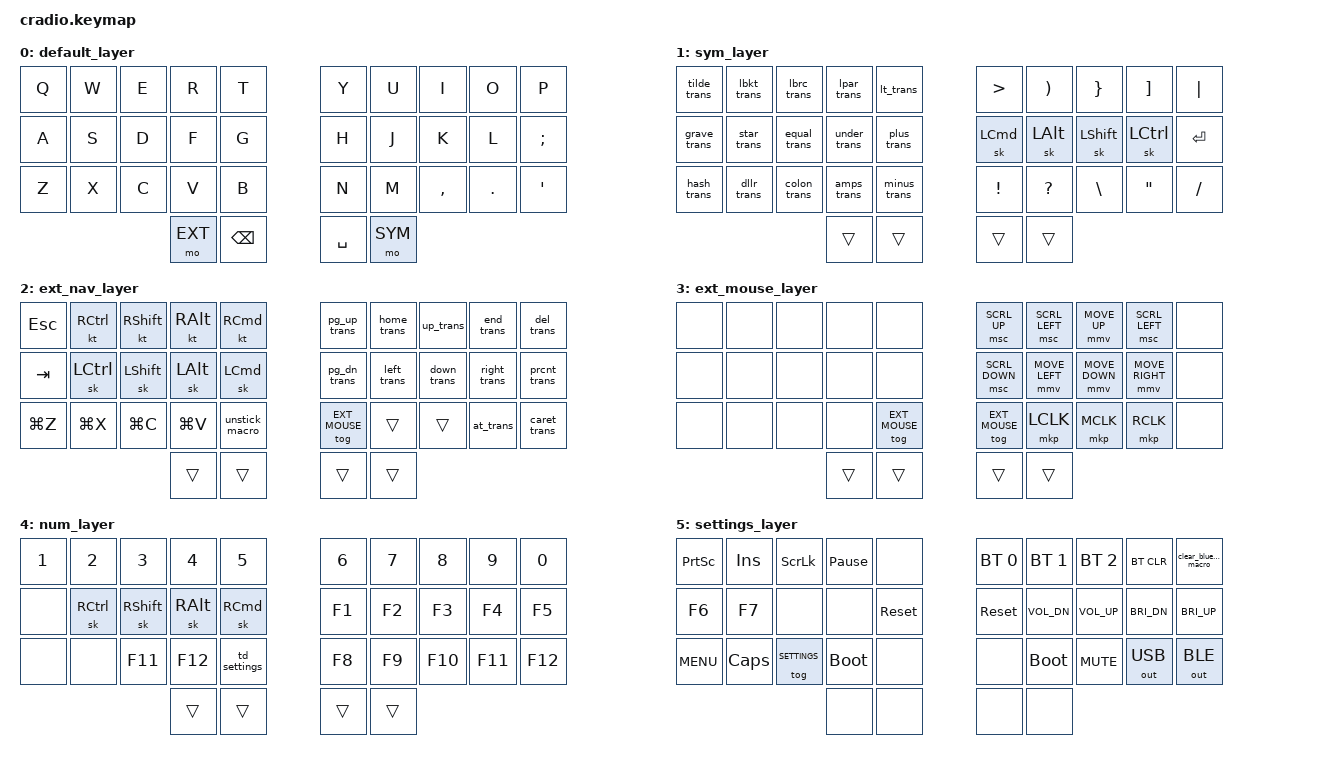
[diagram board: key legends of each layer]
/*
 * Copyright (c) 2020 The ZMK Contributors
 *
 * SPDX-License-Identifier: MIT
 */

#include <behaviors.dtsi>
#include <dt-bindings/zmk/keys.h>
#include <dt-bindings/zmk/bt.h>
#include <dt-bindings/zmk/outputs.h>
#include <dt-bindings/zmk/pointing.h>

// Layer definitions
#define DEFAULT 0
#define SYM 1
#define EXT 2
#define EXT_MOUSE 3
#define NUM 4
#define SETTINGS 5
// -----------------

// left-mods: treat as transaprent. right-mods: treat KEYCODE
#define TRANS_MOD(KEYCODE_BINDING, LABEL) \
    LABEL: LABEL { \
        compatible = "zmk,behavior-mod-morph"; \
        label = #LABEL ; \
        #binding-cells = <0>; \
        bindings = <KEYCODE_BINDING>, <&trans>; \
        mods = <(MOD_LSFT|MOD_LCTL|MOD_LALT|MOD_LGUI)>; \
        keep-mods = <(MOD_LSFT|MOD_LCTL|MOD_LALT|MOD_LGUI)>; \
    }

&sk {
    quick-release; // Release sticky keys on next key-press
    ignore-modifiers; // sticky keys combine, instead of releasing previously pressed sticky keys
};

// For clone nrf chip
&kscan0 {
    input-gpios
    = <&pro_micro 10 (GPIO_ACTIVE_LOW | GPIO_PULL_UP)>
    , <&pro_micro 16 (GPIO_ACTIVE_LOW | GPIO_PULL_UP)>
    , <&pro_micro 14 (GPIO_ACTIVE_LOW | GPIO_PULL_UP)>
    , <&pro_micro 15 (GPIO_ACTIVE_LOW | GPIO_PULL_UP)>
    , <&pro_micro 18 (GPIO_ACTIVE_LOW | GPIO_PULL_UP)>
    , <&pro_micro 19 (GPIO_ACTIVE_LOW | GPIO_PULL_UP)>
    , <&pro_micro 20 (GPIO_ACTIVE_LOW | GPIO_PULL_UP)>
    , <&pro_micro 21 (GPIO_ACTIVE_LOW | GPIO_PULL_UP)>
    , <&pro_micro  9 (GPIO_ACTIVE_LOW | GPIO_PULL_UP)>
    , <&pro_micro  8 (GPIO_ACTIVE_LOW | GPIO_PULL_UP)>
    , <&pro_micro  7 (GPIO_ACTIVE_LOW | GPIO_PULL_UP)>
    , <&pro_micro  6 (GPIO_ACTIVE_LOW | GPIO_PULL_UP)>
    , <&pro_micro  5 (GPIO_ACTIVE_LOW | GPIO_PULL_UP)>
    , <&pro_micro  4 (GPIO_ACTIVE_LOW | GPIO_PULL_UP)>
    , <&pro_micro  3 (GPIO_ACTIVE_LOW | GPIO_PULL_UP)>
    , <&pro_micro  2 (GPIO_ACTIVE_LOW | GPIO_PULL_UP)>
    , <&pro_micro  1 (GPIO_ACTIVE_LOW | GPIO_PULL_UP)>
    ;
};

/ {

    behaviors {
        td_settings: tap_dance_settings {
            compatible = "zmk,behavior-tap-dance";
            label = "TAP_DANCE_SETTINGS";
            #binding-cells = <0>;
            tapping-term-ms = <500>;
            bindings = <&none>, <&none>, <&tog SETTINGS>;
        };

        TRANS_MOD(&kp TILDE, tilde_trans);
        TRANS_MOD(&kp LBKT, lbkt_trans);
        TRANS_MOD(&kp LBRC, lbrc_trans);
        TRANS_MOD(&kp LPAR, lpar_trans);
        TRANS_MOD(&kp LT, lt_trans);
        TRANS_MOD(&kp GRAVE, grave_trans);
        TRANS_MOD(&kp STAR, star_trans);
        TRANS_MOD(&kp EQUAL, equal_trans);
        TRANS_MOD(&kp UNDER, under_trans);
        TRANS_MOD(&kp PLUS, plus_trans);
        TRANS_MOD(&kp HASH, hash_trans);
        TRANS_MOD(&kp CARET, caret_trans);
        TRANS_MOD(&kp AT, at_trans);
        TRANS_MOD(&kp AMPS, amps_trans);
        TRANS_MOD(&kp MINUS, minus_trans);
        
        TRANS_MOD(&kp PG_UP, pg_up_trans);
        TRANS_MOD(&kp HOME, home_trans);
        TRANS_MOD(&kp UP, up_trans);
        TRANS_MOD(&kp END, end_trans);
        TRANS_MOD(&kp DEL, del_trans);
        TRANS_MOD(&kp PG_DN, pg_dn_trans);
        TRANS_MOD(&kp LEFT, left_trans);
        TRANS_MOD(&kp DOWN, down_trans);
        TRANS_MOD(&kp RIGHT, right_trans);
        TRANS_MOD(&kp PRCNT, prcnt_trans);
        TRANS_MOD(&kp DLLR, dllr_trans);
        TRANS_MOD(&kp COLON, colon_trans);

        TRANS_MOD(&msc SCRL_DOWN, mouse_scrl_down_trans);
        TRANS_MOD(&msc SCRL_UP, mouse_scrl_up_trans);
        TRANS_MOD(&msc SCRL_LEFT, mouse_scrl_left_trans);
        TRANS_MOD(&msc SCRL_RIGHT, mouse_scrl_right_trans);
        TRANS_MOD(&mmv MOVE_UP, mouse_up_trans);
        TRANS_MOD(&mmv MOVE_DOWN, mouse_down_trans);
        TRANS_MOD(&mmv MOVE_LEFT, mouse_left_trans);
        TRANS_MOD(&mmv MOVE_RIGHT, mouse_right_trans);

    };
    macros {
        // reset all sticky modifiers
        ZMK_MACRO(unstick_macro,
            wait-ms = <0>;
            tap-ms = <40>;
            bindings = <&macro_release &kp LSHIFT &kp LCTRL &kp LALT &kp RSHIFT &kp RCTRL &kp RALT &kp LCMD &kp RCMD>;
        )
        ZMK_MACRO(clear_bluetooth_macro,
            wait-ms = <0>;
            tap-ms = <40>;
            bindings = <&macro_release &bt BT_DISC 0 &bt BT_DISC 1 &bt BT_DISC 2 &bt BT_DISC 3>;
        )
    };

    conditional_layers {
        compatible = "zmk,conditional-layers";
        num_cond_layer {
            if-layers = <SYM EXT>;
            then-layer = <NUM>;
        };
    };

    keymap {
        compatible = "zmk,keymap";

        // Base layer
        default_layer {
            bindings = <
                &kp Q &kp W &kp E &kp R   &kp T             &kp Y     &kp U &kp I     &kp O   &kp P 
                &kp A &kp S &kp D &kp F   &kp G             &kp H     &kp J &kp K     &kp L   &kp SEMI
                &kp Z &kp X &kp C &kp V   &kp B             &kp N     &kp M &kp COMMA &kp DOT &kp SQT
                                  &mo EXT &kp BSPC          &kp SPACE &mo SYM
            >;
        };

        // symbols
        sym_layer {
            bindings = <
                &tilde_trans &lbkt_trans &lbrc_trans  &lpar_trans  &lt_trans             &kp GT   &kp RPAR  &kp RBRC  &kp RBKT  &kp PIPE
                &grave_trans &star_trans &equal_trans &under_trans &plus_trans           &sk LCMD &sk LALT  &sk LSHFT &sk LCTRL &kp ENTER
                &hash_trans  &dllr_trans &colon_trans &amps_trans  &minus_trans          &kp EXCL &kp QMARK &kp BSLH  &kp DQT   &kp FSLH
                                                      &trans       &trans                &trans   &trans
            >;
        };

        // Main modifiers and arrow keys
        ext_nav_layer {
            bindings = <
                &kp ESC  &kt RCTRL  &kt RSHFT &kt RALT  &kt RCMD                        &pg_up_trans   &home_trans     &up_trans       &end_trans      &del_trans
                &kp TAB  &sk LCTRL  &sk LSHFT &sk LALT  &sk LCMD                        &pg_dn_trans   &left_trans     &down_trans     &right_trans    &prcnt_trans
                &kp LG(Z) &kp LG(X) &kp LG(C) &kp LG(V) &unstick_macro                  &tog EXT_MOUSE &trans          &trans          &at_trans       &caret_trans
                                              &trans    &trans                          &trans         &trans
            >;
        };

        // Main modifiers and mouse keys
        ext_mouse_layer {
            bindings = <
                &none  &none  &none &none  &none                       &msc SCRL_UP   &msc SCRL_LEFT &mmv MOVE_UP &msc SCRL_LEFT         &none
                &none  &none  &none &none  &none                       &msc SCRL_DOWN &mmv MOVE_LEFT      &mmv MOVE_DOWN &mmv MOVE_RIGHT &none
                &none  &none  &none &none  &tog EXT_MOUSE              &tog EXT_MOUSE &mkp LCLK           &mkp MCLK      &mkp RCLK       &none
                                    &trans &trans                      &trans         &trans
            >;
        };

        // numbers and function keys
        num_layer {
            bindings = <
                &kp N1 &kp N2    &kp N3    &kp N4   &kp N5              &kp N6 &kp N7 &kp N8 &kp N9 &kp N0
                &none  &sk RCTRL &sk RSHFT &sk RALT &sk RCMD            &kp F1 &kp F2 &kp F3 &kp F4 &kp F5
                &none  &none     &kp F11   &kp F12  &td_settings        &kp F8 &kp F9 &kp F10 &kp F11 &kp F12
                                           &trans   &trans              &trans &trans  
            >;
        };

        settings_layer {
            bindings = <
                &kp PSCRN  &kp INS  &kp SLCK      &kp PAUSE_BREAK &none                 &bt BT_SEL 0  &bt BT_SEL 1    &bt BT_SEL 2    &bt BT_CLR      &clear_bluetooth_macro
                &kp F6     &kp F7   &none         &none           &sys_reset            &sys_reset    &kp C_VOL_DN    &kp C_VOL_UP    &kp C_BRI_DN    &kp C_BRI_UP
                &kp C_MENU &kp CAPS &tog SETTINGS &bootloader     &none                 &none         &bootloader     &kp C_MUTE      &out OUT_USB    &out OUT_BLE
                                                  &none           &none                 &none &none
            >;
        };
    };
};
